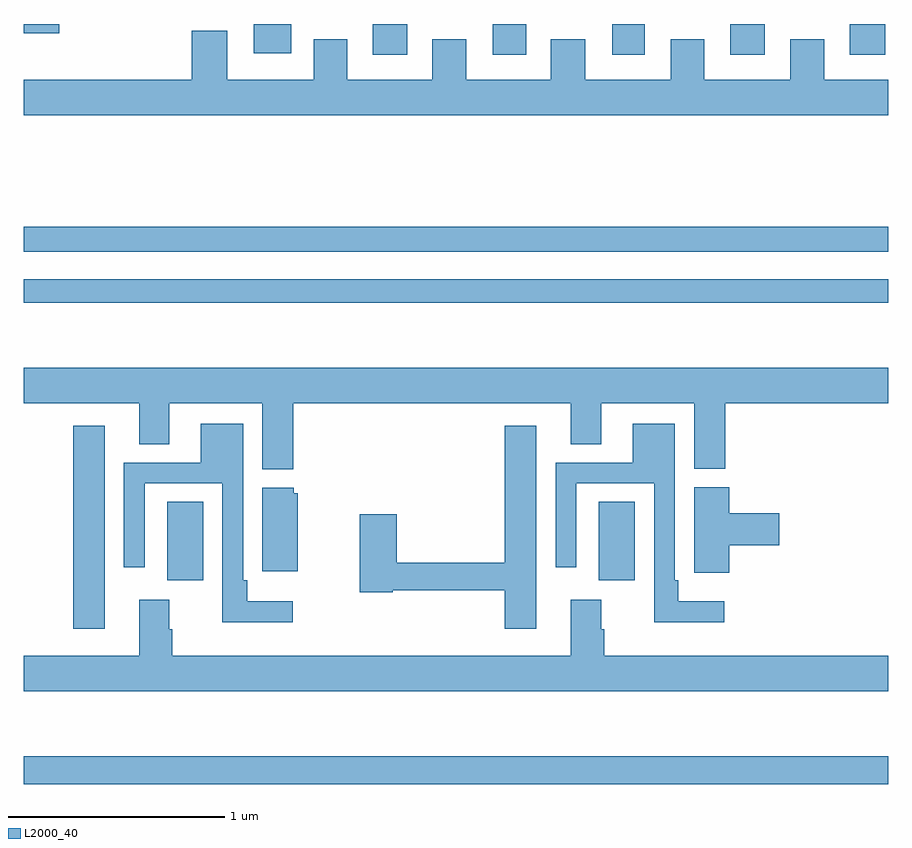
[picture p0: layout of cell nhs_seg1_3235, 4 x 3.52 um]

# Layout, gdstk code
import gdstk
lib = gdstk.Library(unit=1e-6, precision=1e-09)
def R(c, l, rs):  # rectangles x0, y0, x1, y1
    for r in rs: c.add(gdstk.rectangle(r[:2], r[2:], *l))
def P(c, l, *ps):  # polygons
    for p in ps: c.add(gdstk.Polygon(p, *l))
L2000_40 = (2000, 40)

nhs_seg1_3235 = lib.new_cell('nhs_seg1_3235')
R(nhs_seg1_3235, L2000_40, [(287,504.682,291,504.811), (287.228,505.401,287.374,506.341), (287.663,505.626,287.83,505.988), (289.661,505.626,289.828,505.988), (287,506.91,291,507.018), (287,507.144,291,507.26), (288.614,508.056,288.775,508.199), (289.169,508.056,289.324,508.199), (289.724,508.056,289.873,508.199), (290.27,508.056,290.428,508.199), (290.822,508.056,290.986,508.199), (288.065,508.064,288.238,508.199), (287,508.157,287.165,508.199)])
P(nhs_seg1_3235, L2000_40, [(289.439,508.129),(289.439,507.94),(289.048,507.94),(289.048,508.129),(288.89,508.129),(288.89,507.94),(288.496,507.94),(288.496,508.129),(288.341,508.129),(288.341,507.94),(287.941,507.94),(287.941,508.168),(287.777,508.168),(287.777,507.94),(287,507.94),(287,507.776),(291,507.776),(291,507.94),(290.704,507.94),(290.704,508.129),(290.546,508.129),(290.546,507.94),(290.149,507.94),(290.149,508.129),(289.994,508.129),(289.994,507.94),(289.597,507.94),(289.597,508.129)],
  [(288.248,506.444),(289.532,506.444),(289.532,506.254),(289.672,506.254),(289.672,506.444),(290.102,506.444),(290.102,506.14),(290.246,506.14),(290.246,506.444),(291,506.444),(291,506.608),(287,506.608),(287,506.444),(287.534,506.444),(287.534,506.254),(287.674,506.254),(287.674,506.444),(288.104,506.444),(288.104,506.138),(288.248,506.138)],
  [(288.244,505.528),(288.035,505.528),(288.035,505.624),(288.015,505.624),(288.015,506.35),(287.819,506.35),(287.819,506.169),(287.463,506.169),(287.463,505.686),(287.559,505.686),(287.559,506.073),(287.919,506.073),(287.919,505.43),(288.244,505.43)],
  [(290.242,505.528),(290.029,505.528),(290.029,505.624),(290.013,505.624),(290.013,506.35),(289.817,506.35),(289.817,506.169),(289.461,506.169),(289.461,505.686),(289.557,505.686),(289.557,506.073),(289.917,506.073),(289.917,505.43),(290.242,505.43)],
  [(289.372,506.341),(289.226,506.341),(289.226,505.706),(288.725,505.706),(288.725,505.93),(288.554,505.93),(288.554,505.57),(288.708,505.57),(288.708,505.578),(289.226,505.578),(289.226,505.401),(289.372,505.401)],
  [(290.264,505.787),(290.497,505.787),(290.497,505.934),(290.264,505.934),(290.264,506.055),(290.102,506.055),(290.102,505.771),(290.103,505.771),(290.103,505.659),(290.264,505.659)],
  [(288.268,506.028),(288.249,506.028),(288.249,506.053),(288.104,506.053),(288.104,505.667),(288.268,505.667)],
  [(291,505.276),(289.685,505.276),(289.685,505.397),(289.672,505.397),(289.672,505.534),(289.532,505.534),(289.532,505.276),(287.687,505.276),(287.687,505.397),(287.674,505.397),(287.674,505.534),(287.534,505.534),(287.534,505.276),(287,505.276),(287,505.112),(291,505.112)])

lib.write_gds('nhs_seg1_3235.gds')
